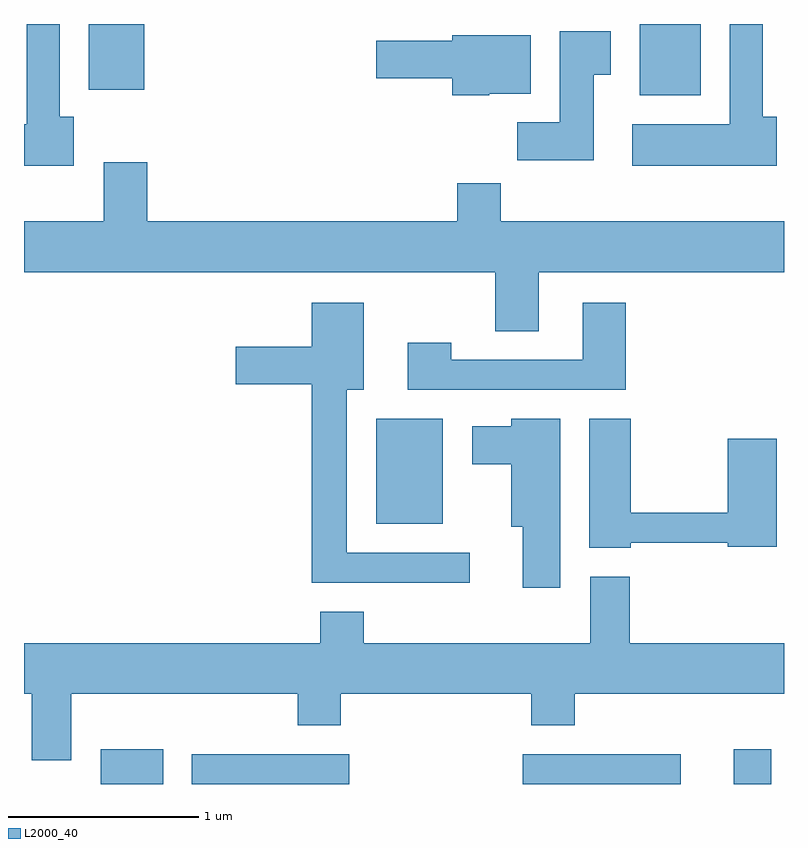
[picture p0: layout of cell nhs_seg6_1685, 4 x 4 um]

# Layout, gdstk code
import gdstk
lib = gdstk.Library(unit=1e-6, precision=1e-09)
def R(c, l, rs):  # rectangles x0, y0, x1, y1
    for r in rs: c.add(gdstk.rectangle(r[:2], r[2:], *l))
def P(c, l, *ps):  # polygons
    for p in ps: c.add(gdstk.Polygon(p, *l))
L2000_40 = (2000, 40)

nhs_seg6_1685 = lib.new_cell('nhs_seg6_1685')
R(nhs_seg6_1685, L2000_40, [(236.016,1616.162,236.344,1616.344), (236.493,1616.162,237.324,1616.319), (238.236,1616.162,239.068,1616.319), (239.346,1616.162,239.544,1616.344), (237.466,1617.531,237.814,1618.084), (238.851,1619.786,239.174,1620.162), (235.951,1619.816,236.244,1620.162)])
P(nhs_seg6_1685, L2000_40, [(239.574,1619.674),(239.499,1619.674),(239.499,1620.162),(239.326,1620.162),(239.326,1619.634),(238.811,1619.634),(238.811,1619.416),(239.574,1619.416)],
  [(235.874,1619.674),(235.799,1619.674),(235.799,1620.162),(235.626,1620.162),(235.626,1619.634),(235.611,1619.634),(235.611,1619.416),(235.874,1619.416)],
  [(238.609,1619.896),(238.699,1619.896),(238.699,1620.124),(238.431,1620.124),(238.431,1619.644),(238.206,1619.644),(238.206,1619.446),(238.609,1619.446)],
  [(238.06,1619.796),(238.279,1619.796),(238.279,1620.104),(237.866,1620.104),(237.866,1620.074),(237.466,1620.074),(237.466,1619.876),(237.866,1619.876),(237.866,1619.786),(238.06,1619.786)],
  [(238.319,1618.856),(239.611,1618.856),(239.611,1619.124),(238.119,1619.124),(238.119,1619.324),(237.891,1619.324),(237.891,1619.124),(236.259,1619.124),(236.259,1619.434),(236.031,1619.434),(236.031,1619.124),(235.611,1619.124),(235.611,1618.856),(238.091,1618.856),(238.091,1618.546),(238.319,1618.546)],
  [(237.958,1617.379),(237.309,1617.379),(237.309,1618.236),(237.399,1618.236),(237.399,1618.694),(237.126,1618.694),(237.126,1618.464),(236.726,1618.464),(236.726,1618.266),(237.126,1618.266),(237.126,1617.221),(237.958,1617.221)],
  [(238.779,1618.694),(238.551,1618.694),(238.551,1618.394),(237.859,1618.394),(237.859,1618.484),(237.631,1618.484),(237.631,1618.236),(238.779,1618.236)],
  [(238.804,1617.431),(239.316,1617.431),(239.316,1617.411),(239.574,1617.411),(239.574,1617.979),(239.316,1617.979),(239.316,1617.589),(238.804,1617.589),(238.804,1618.084),(238.586,1618.084),(238.586,1617.406),(238.804,1617.406)],
  [(238.434,1618.084),(238.176,1618.084),(238.176,1618.044),(237.971,1618.044),(237.971,1617.846),(238.176,1617.846),(238.176,1617.516),(238.236,1617.516),(238.236,1617.196),(238.434,1617.196)],
  [(235.859,1616.636),(237.051,1616.636),(237.051,1616.471),(237.279,1616.471),(237.279,1616.636),(238.281,1616.636),(238.281,1616.471),(238.509,1616.471),(238.509,1616.636),(239.611,1616.636),(239.611,1616.904),(238.799,1616.904),(238.799,1617.254),(238.591,1617.254),(238.591,1616.904),(237.399,1616.904),(237.399,1617.069),(237.171,1617.069),(237.171,1616.904),(235.611,1616.904),(235.611,1616.636),(235.651,1616.636),(235.651,1616.286),(235.859,1616.286)])

lib.write_gds('nhs_seg6_1685.gds')
